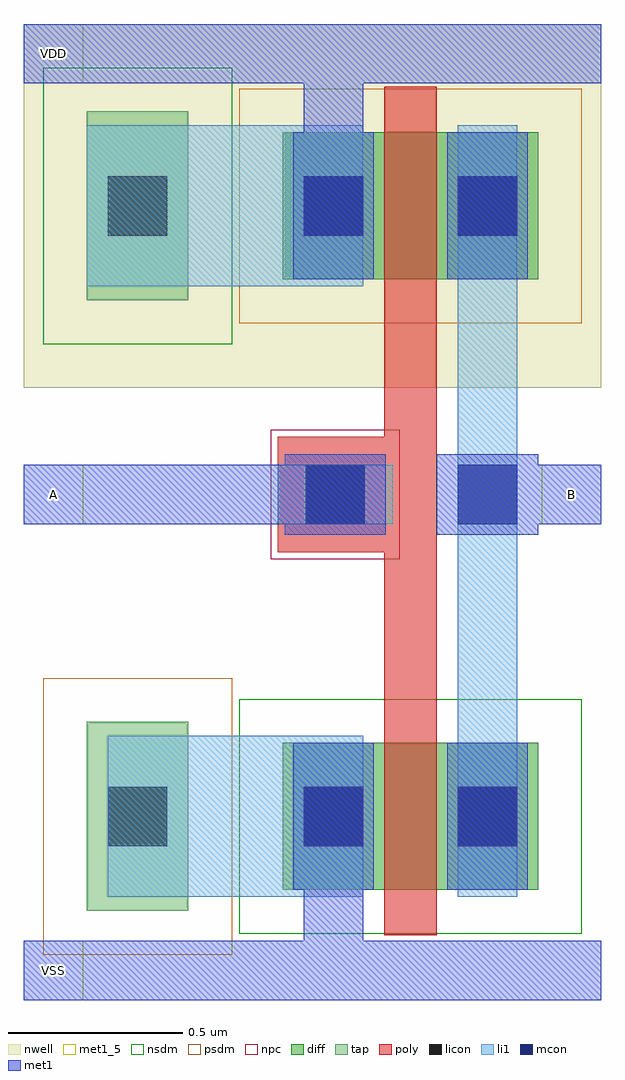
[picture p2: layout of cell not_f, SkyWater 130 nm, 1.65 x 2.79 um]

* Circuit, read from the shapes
.subckt not_f A B VDD VSS
XM1 B A VSS VSS sky130_fd_pr__nfet_01v8 w=0.42 l=0.15
XM2 B A VDD VDD sky130_fd_pr__pfet_01v8 w=0.42 l=0.15
.ends

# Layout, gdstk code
import gdstk
lib = gdstk.Library(unit=1e-6, precision=5e-09)
def R(c, l, rs):  # rectangles x0, y0, x1, y1
    for r in rs: c.add(gdstk.rectangle(r[:2], r[2:], *l))
nwell = (64, 20)
diff = (65, 20)
tap = (65, 44)
poly = (66, 20)
licon = (66, 44)
li1 = (67, 20)
mcon = (67, 44)
met1_5 = (68, 5)
met1 = (68, 20)
nsdm = (93, 44)
psdm = (94, 20)
npc = (95, 20)

not_f = lib.new_cell('not_f')
R(not_f, nwell, [(0,2.205,1.65,3.245)])
R(not_f, diff, [(0.74,0.77,1.47,1.19), (0.74,2.515,1.47,2.935)])
R(not_f, tap, [(0.18,0.71,0.47,1.25), (0.18,2.455,0.47,2.995)])
R(not_f, poly, [(1.03,0.64,1.18,1.735), (0.725,1.735,1.18,2.065), (1.03,2.065,1.18,3.065)])
R(not_f, licon, [(0.24,0.895,0.41,1.065), (0.8,0.895,0.97,1.065), (1.24,0.895,1.41,1.065), (0.805,1.815,0.975,1.985), (0.24,2.64,0.41,2.81), (0.8,2.64,0.97,2.81), (1.24,2.64,1.41,2.81)])
R(not_f, li1, [(0.24,0.75,0.97,1.21), (1.24,0.75,1.41,2.955), (0.725,1.815,1.055,1.985), (0.18,2.495,0.97,2.955)])
R(not_f, mcon, [(0.8,0.895,0.97,1.065), (1.24,0.895,1.41,1.065), (0.805,1.815,0.975,1.985), (1.24,1.815,1.41,1.985), (0.8,2.64,0.97,2.81), (1.24,2.64,1.41,2.81)])
R(not_f, met1_5, [(0,0.455,0.17,0.625), (0,1.815,0.17,1.985), (1.48,1.815,1.65,1.985), (0,3.075,0.17,3.245)])
R(not_f, met1, [(0,0.455,1.65,0.625), (0.8,0.625,0.97,0.77), (0.77,0.77,1,1.19), (1.21,0.77,1.44,1.19), (0.745,1.785,1.035,1.815), (1.18,1.785,1.47,1.815), (0,1.815,1.035,1.985), (1.18,1.815,1.65,1.985), (0.745,1.985,1.035,2.015), (1.18,1.985,1.47,2.015), (0.77,2.515,1,2.935), (1.21,2.515,1.44,2.935), (0.8,2.935,0.97,3.075), (0,3.075,1.65,3.245)])
R(not_f, nsdm, [(0.615,0.645,1.595,1.315), (0.055,2.33,0.595,3.12)])
R(not_f, psdm, [(0.055,0.585,0.595,1.375), (0.615,2.39,1.595,3.06)])
R(not_f, npc, [(0.705,1.715,1.075,2.085)])
not_f.add(gdstk.Label('B', (1.565,1.9), layer=68, texttype=5))
not_f.add(gdstk.Label('VDD', (0.085,3.16), layer=68, texttype=5))
not_f.add(gdstk.Label('A', (0.085,1.9), layer=68, texttype=5))
not_f.add(gdstk.Label('VSS', (0.085,0.54), layer=68, texttype=5))

lib.write_gds('not_f.gds')
